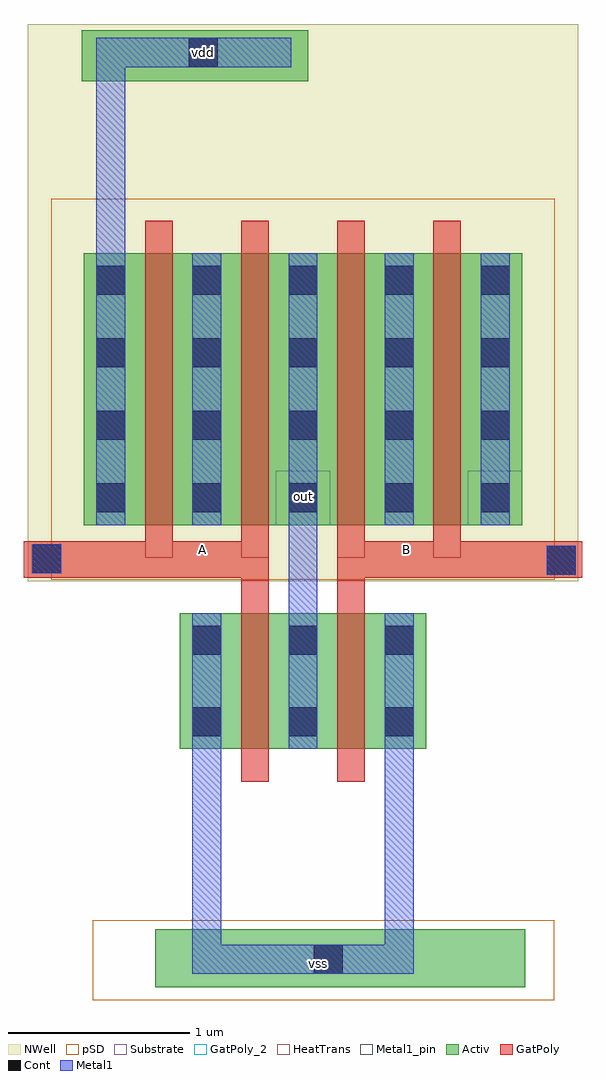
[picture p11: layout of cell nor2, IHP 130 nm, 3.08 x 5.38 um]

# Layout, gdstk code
import gdstk
lib = gdstk.Library(unit=1e-6, precision=5e-09)
def R(c, l, rs):  # rectangles x0, y0, x1, y1
    for r in rs: c.add(gdstk.rectangle(r[:2], r[2:], *l))
def A(c, l, x, y, w, h, nx, ny, dx, dy):  # array of equal rectangles
    R(c, l, [(x+i*dx, y+j*dy, x+i*dx+w, y+j*dy+h) for i in range(nx) for j in range(ny)])
Activ = (1, 0)
GatPoly = (5, 0)
GatPoly_2 = (5, 2)
Cont = (6, 0)
Metal1 = (8, 0)
Metal1_pin = (8, 2)
pSD = (14, 0)
NWell = (31, 0)
Substrate = (40, 0)
HeatTrans = (51, 0)

nmos_2 = lib.new_cell('nmos$2')
R(nmos_2, Activ, [(0,0,0.3,0.3), (0,0,0.83,0.75), (0.53,0,0.83,0.3)])
R(nmos_2, GatPoly, [(0.34,-0.18,0.49,0.93)])
R(nmos_2, GatPoly_2, [(0.34,-0.18,0.49,0.93)])
R(nmos_2, Cont, [(0.07,0.07,0.23,0.23), (0.6,0.07,0.76,0.23), (0.07,0.52,0.23,0.68), (0.6,0.52,0.76,0.68)])
R(nmos_2, Metal1, [(0.07,0,0.23,0.75), (0.6,0,0.76,0.75)])
R(nmos_2, Metal1_pin, [(0.07,0,0.23,0.75), (0.6,0,0.76,0.75)])
R(nmos_2, HeatTrans, [(0.34,-0.18,0.49,0.93)])
nmos_2.add(gdstk.Label('nmos', (0.415,0.375), layer=63, texttype=0))
nmos_2.add(gdstk.Label('nmos', (0.415,0.375), layer=51, texttype=0))

pmos = lib.new_cell('pmos')
A(pmos, Activ, 0, 0, 0.3, 0.3, 3, 1, 0.53, 0)
R(pmos, Activ, [(0,0,1.36,1.5)])
R(pmos, GatPoly, [(0.34,-0.18,0.49,1.68), (0.34,-0.18,0.49,1.68), (0.87,-0.18,1.02,1.68)])
A(pmos, Cont, 0.07, 0.07, 0.16, 0.16, 3, 4, 0.53, 0.4)
R(pmos, Metal1, [(0.07,0,0.23,1.5), (0.07,0,0.23,1.5), (0.6,0,0.76,1.5), (0.6,0,0.76,1.5), (1.13,0,1.29,1.5)])
R(pmos, pSD, [(-0.18,-0.3,1.54,1.8)])
R(pmos, NWell, [(-0.31,-0.31,1.67,1.81)])
R(pmos, Substrate, [(1.06,0,1.36,0.3)])
R(pmos, HeatTrans, [(0.34,-0.18,0.49,1.68), (0.87,-0.18,1.02,1.68)])
pmos.add(gdstk.Label('pmos', (0.415,0.75), layer=63, texttype=0))
pmos.add(gdstk.Label('pmos', (0.415,0.75), layer=51, texttype=0))
pmos.add(gdstk.Label('pmos', (0.945,0.75), layer=51, texttype=0))

nor2 = lib.new_cell('nor2')
R(nor2, Activ, [(-2.13,0.34,-0.09,0.66), (-2.535,5.34,-1.285,5.62)])
R(nor2, GatPoly, [(-1.655,2.585,-1.505,2.855), (-1.125,2.585,-0.975,2.855), (-2.855,2.6,-1.655,2.8), (-1.125,2.6,0.225,2.8)])
R(nor2, Cont, [(-1.255,0.415,-1.095,0.575), (0.03,2.615,0.19,2.775), (-2.81,2.625,-2.65,2.785), (-1.945,5.42,-1.785,5.58)])
R(nor2, Metal1, [(-1.925,0.415,-1.765,1.885), (-1.925,0.415,-0.705,0.575), (-1.255,0.415,-1.095,0.575), (-0.865,0.415,-0.705,1.885), (-1.395,2.17,-1.235,3.115), (0.03,2.615,0.19,2.775), (-2.81,2.625,-2.65,2.785), (-2.455,4.165,-2.295,5.58), (-2.45,5.415,-1.38,5.58), (-1.945,5.42,-1.79,5.58)])
R(nor2, Metal1_pin, [(-1.255,0.415,-1.095,0.575), (0.03,2.615,0.19,2.775), (-2.81,2.625,-2.65,2.785), (-1.395,2.965,-1.235,3.125), (-1.94,5.42,-1.785,5.58)])
R(nor2, pSD, [(-2.475,0.27,0.07,0.71)])
R(nor2, NWell, [(-2.835,4.7,0.205,5.655)])
nor2.add(gdstk.Reference(nmos_2, (-1.465,1.655)))
nor2.add(gdstk.Reference(nmos_2, (-1.995,1.655)))
nor2.add(gdstk.Reference(pmos, (-2.525,2.89)))
nor2.add(gdstk.Reference(pmos, (-1.465,2.89)))
nor2.add(gdstk.Label('A', (-1.87,2.755), layer=8, texttype=2))
nor2.add(gdstk.Label('B', (-0.745,2.755), layer=8, texttype=2))
nor2.add(gdstk.Label('vdd', (-1.865,5.5), layer=8, texttype=2))
nor2.add(gdstk.Label('out', (-1.315,3.05), layer=8, texttype=2))
nor2.add(gdstk.Label('vss', (-1.23,0.47), layer=8, texttype=2))

lib.write_gds('nor2.gds')
